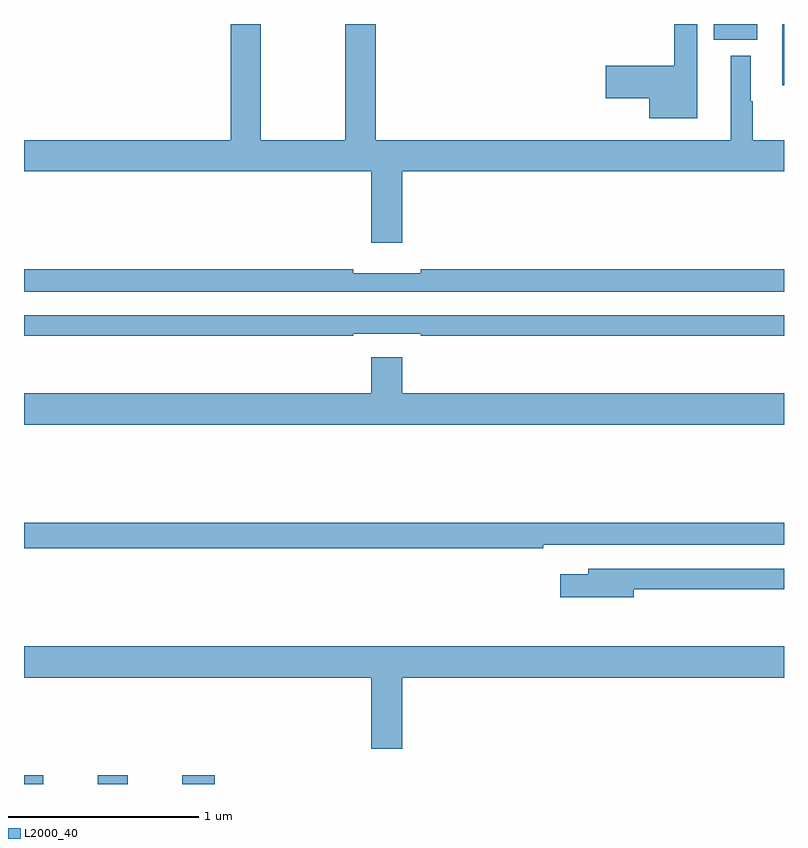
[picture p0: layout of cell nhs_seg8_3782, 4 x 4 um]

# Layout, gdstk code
import gdstk
lib = gdstk.Library(unit=1e-6, precision=1e-09)
def R(c, l, rs):  # rectangles x0, y0, x1, y1
    for r in rs: c.add(gdstk.rectangle(r[:2], r[2:], *l))
def P(c, l, *ps):  # polygons
    for p in ps: c.add(gdstk.Polygon(p, *l))
L2000_40 = (2000, 40)

nhs_seg8_3782 = lib.new_cell('nhs_seg8_3782')
R(nhs_seg8_3782, L2000_40, [(343,1155.9,343.102,1155.946), (343.388,1155.9,343.546,1155.946), (343.832,1155.9,344.003,1155.946), (346.991,1159.578,347,1159.9), (346.631,1159.817,346.858,1159.9)])
P(nhs_seg8_3782, L2000_40, [(344.992,1159.124),(347,1159.124),(347,1159.288),(346.835,1159.288),(346.835,1159.493),(346.825,1159.493),(346.825,1159.732),(346.721,1159.732),(346.721,1159.288),(344.852,1159.288),(344.852,1159.9),(344.692,1159.9),(344.692,1159.288),(344.247,1159.288),(344.247,1159.9),(344.087,1159.9),(344.087,1159.288),(343,1159.288),(343,1159.124),(344.828,1159.124),(344.828,1158.75),(344.992,1158.75)],
  [(346.543,1159.9),(346.422,1159.9),(346.422,1159.679),(346.062,1159.679),(346.062,1159.508),(346.292,1159.508),(346.292,1159.403),(346.543,1159.403)],
  [(347,1158.608),(345.088,1158.608),(345.088,1158.589),(344.732,1158.589),(344.732,1158.608),(343,1158.608),(343,1158.492),(347,1158.492)],
  [(344.732,1158.27),(345.088,1158.27),(345.088,1158.258),(347,1158.258),(347,1158.366),(343,1158.366),(343,1158.258),(344.732,1158.258)],
  [(347,1157.956),(344.992,1157.956),(344.992,1158.145),(344.828,1158.145),(344.828,1157.956),(343,1157.956),(343,1157.792),(347,1157.792)],
  [(345.734,1157.16),(347,1157.16),(347,1157.276),(343,1157.276),(343,1157.14),(345.734,1157.14)],
  [(346.21,1156.926),(347,1156.926),(347,1157.034),(345.971,1157.034),(345.971,1157.005),(345.822,1157.005),(345.822,1156.883),(346.21,1156.883)],
  [(344.992,1156.46),(347,1156.46),(347,1156.624),(343,1156.624),(343,1156.46),(344.828,1156.46),(344.828,1156.086),(344.992,1156.086)])

lib.write_gds('nhs_seg8_3782.gds')
